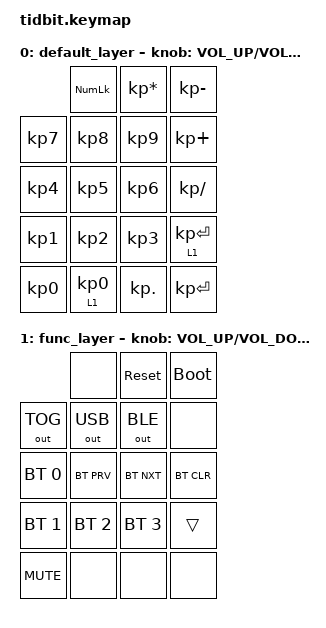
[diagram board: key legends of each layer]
/*
 * Copyright (c) 2020 The ZMK Contributors
 *
 * SPDX-License-Identifier: MIT
 */

#include <behaviors.dtsi>
#include <dt-bindings/gpio/gpio.h>
#include <dt-bindings/zmk/bt.h>
#include <dt-bindings/zmk/keys.h>
#include <dt-bindings/zmk/outputs.h>


/* Enable ONLY ONE of the &encoder_1 nodes. They are wired to the same pins.*/

/*
&encoder_1 {
    status = "okay";
};
*/

&encoder_1_top_row {
    status = "okay";
};

/*
&encoder_2 {
    status = "okay";
};

&encoder_3 {
    status = "okay";
};


&encoder_4 {
    status = "okay";
};
*/

/* Add any encoder(s) you have enabled to the sensors node, separated by spaces. */
&sensors {
    sensors = <&encoder_1_top_row>;
};

/ {
    keymap {
        compatible = "zmk,keymap";

        default_layer {
            bindings = <
                                &kp KP_NUMLOCK    &kp KP_ASTERISK &kp KP_MINUS
                &kp KP_NUMBER_7 &kp KP_NUMBER_8   &kp KP_NUMBER_9 &kp KP_PLUS
                &kp KP_NUMBER_4 &kp KP_NUMBER_5   &kp KP_NUMBER_6 &kp KP_SLASH
                &kp KP_NUMBER_1 &kp KP_NUMBER_2   &kp KP_NUMBER_3 &lt 1 KP_ENTER
                &kp KP_NUMBER_0 &lt 1 KP_NUMBER_0 &kp KP_DOT      &kp KP_ENTER
            >;

            sensor-bindings = <&inc_dec_kp C_VOLUME_UP C_VOLUME_DOWN>;
        };

         func_layer {
             bindings = <
                                &none           &sys_reset      &bootloader
                &out OUT_TOG    &out OUT_USB    &out OUT_BLE    &none
                &bt BT_SEL 0    &bt BT_PRV      &bt BT_NXT      &bt BT_CLR
                &bt BT_SEL 1    &bt BT_SEL 2    &bt BT_SEL 3    &trans
                &kp C_MUTE      &none           &none           &none
             >;

             sensor-bindings = <&inc_dec_kp C_VOLUME_UP C_VOLUME_DOWN>;
         };
    };
};

&nice_view_spi {
    cs-gpios = <&gpio1 6 GPIO_ACTIVE_HIGH>;
};
